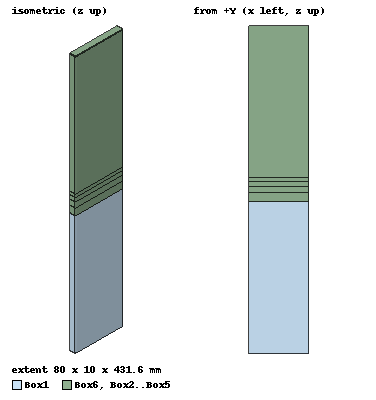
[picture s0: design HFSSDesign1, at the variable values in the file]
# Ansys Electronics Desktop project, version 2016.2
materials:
  vacuum: permittivity=1
  Epsilon1: permittivity=1.327 permeability=1
  Epsilon2: permittivity=2.123
  Material1: permittivity=3.803
  Epsilon4: permittivity=6.201
  Epsilon5: permittivity=8.313
  Epsilon3: permittivity=3.803
  air: permittivity=1.0006 permeability=1.0000004

design HFSSDesign1 (HFSS, DrivenModal, model units mm)
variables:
  a = 80mm
  b = 10mm
  L1 = 11.27mm
  L2 = 8.78mm
  L_system = 200mm
  L3 = 6.49mm
  L4 = 5.06mm
  L_load = 200mm
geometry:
  Box1 [air] = box(corner=(0mm, 0mm, 0mm), size=(a, b, L_system))
  Box2 [Epsilon1] = box(corner=(0mm, 0mm, L_system), size=(a, b, L1))
  Box3 [Epsilon2] = box(corner=(0mm, 0mm, L_system+L1), size=(a, b, L2))
  Box4 [Epsilon3] = box(corner=(0mm, 0mm, L_system+L1+L2), size=(a, b, L3))
  Box5 [Epsilon4] = box(corner=(0mm, 0mm, L_system+L1+L2+L3), size=(a, b, L4))
  Box6 [Epsilon5] = box(corner=(0mm, 0mm, L_system+L1+L2+L3+L4), size=(a, b, L_load))
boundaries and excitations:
  FiniteCond1: Finite Conductivity Faces=Box1.face(+y, -x, -y, +x) Conductivity=58000000 Permeability=1 IsInternal
  FiniteCond2: Finite Conductivity Faces=Box2.face(+x, -y, +y, -x) Conductivity=58000000 Permeability=1 IsInternal
  FiniteCond3: Finite Conductivity Faces=Box3.face(-y, -x, +x, +y) Conductivity=58000000 Permeability=1 IsInternal
  FiniteCond4: Finite Conductivity Faces=Box4.face(-y, -x, +x, +y) Conductivity=58000000 Permeability=1 IsInternal
  FiniteCond5: Finite Conductivity Faces=Box5.face(-y, -x, +x, +y) Conductivity=58000000 Permeability=1 IsInternal
  FiniteCond6: Finite Conductivity Faces=Box6.face(+y, +x, -y, -x) Conductivity=58000000 Permeability=1 IsInternal
  1: Wave Port Faces=Box1.face(-z) NumModes=1 Modes{Mode1{IntLine{middle of Box1.edge(6 of 12) -> middle of Box1.edge(8 of 12)} CharImp=Zpi}}
  2: Wave Port Faces=Box6.face(+z) NumModes=1 Modes{Mode1{IntLine{middle of Box6.edge(4 of 12) -> middle of Box6.edge(2 of 12)} CharImp=Zpi}}
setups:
  Setup1: HfssDriven Frequency=8GHz MaxDeltaS=0.02 MaximumPasses=6 MinimumPasses=1 MinimumConvergedPasses=1 PercentRefinement=30 BasisOrder=1 PortAccuracy=2
    sweep Sweep: 2GHz to 10GHz step 0.5GHz; Type=Discrete
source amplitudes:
  1:1: 1W 0deg
  2:1: 0W 0deg
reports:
  XY Plot 1: dB(S(1,1)) vs Freq on Setup1 : Sweep
  XY Plot 2: mag(S(1,1)) vs Freq on Setup1 : Sweep
